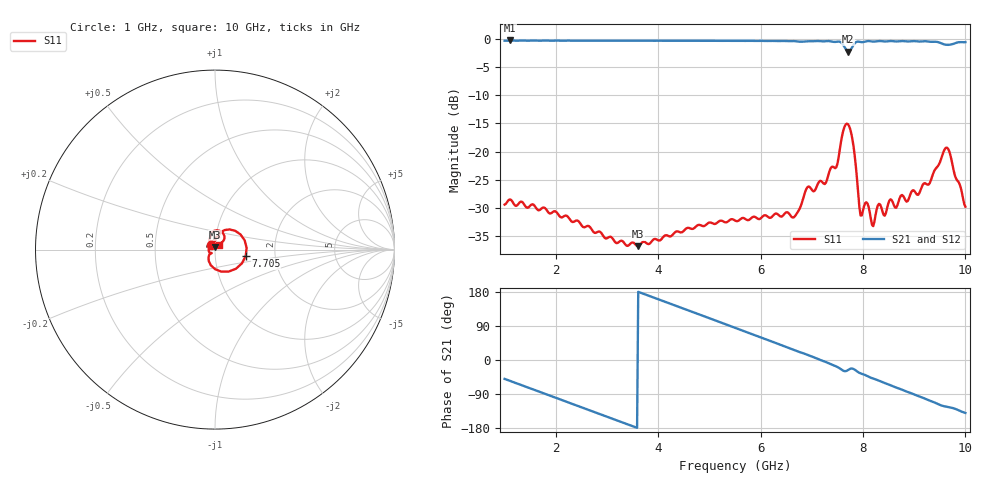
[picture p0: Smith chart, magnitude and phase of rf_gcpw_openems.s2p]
! kicad2ems openEMS FDTD (rf_gcpw); not computed (written as 0): S(P2,P2)
! ports: 1=P1, 2=P2
# Hz S RI R 50
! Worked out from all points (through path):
!   401 points, 1 GHz to 10 GHz, reference 50 ohm
!   highest |S21| = -0.32 dB at 1.113 GHz (marker M1); lowest = -2.3 dB at 7.705 GHz (marker M2)
!   group delay of S21, straight-line fit = 139 ps
!   lowest |S11| = -36.8 dB at 3.61 GHz (marker M3), VSWR 1.03, Z = 49.9 + j1.45 ohm
!   |S11| at or under -10 dB: start of sweep to end of sweep
!   |S22| runs from - to - dB; largest |S21 - S12| = 0
!   S11 on the Smith chart (normalised r, x): 1 GHz: 0.95, +0.05; 7.705 GHz: 1.41, -0.10; 10 GHz: 1.04, +0.05
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1e9  -0.0228 0.0251  0.618 -0.7328  0.618 -0.7328  0 0
1.1125e9  -0.0224 0.0302  0.5459 -0.794  0.5459 -0.794  0 0
1.7875e9  -0.00472 0.0313  0.0139 -0.9618  0.0139 -0.9618  0 0
2.5075e9  0.0043 0.0216  -0.5518 -0.7847  -0.5518 -0.7847  0 0
3.0925e9  0.00346 0.017  -0.8644 -0.4169  -0.8644 -0.4169  0 0
3.61e9  -0.000561 0.0145  -0.9583 0.00289  -0.9583 0.00289  0 0
4.015e9  -0.00267 0.0161  -0.8982 0.3344  -0.8982 0.3344  0 0
4.825e9  -0.00376 0.022  -0.4644 0.8366  -0.4644 0.8366  0 0
5.5e9  -0.00242 0.0244  0.0818 0.9524  0.0818 0.9524  0 0
6.0175e9  -0.00381 0.0257  0.4941 0.8175  0.4941 0.8175  0 0
6.6475e9  -0.00634 0.0253  0.8502 0.4267  0.8502 0.4267  0 0
7.0075e9  -0.00384 0.0453  0.9367 0.1452  0.9367 0.1452  0 0
7.48e9  0.0217 0.0694  0.8965 -0.2748  0.8965 -0.2748  0 0
7.705e9  0.1713 -0.0355  0.6848 -0.3469  0.6848 -0.3469  0 0
7.795e9  0.0347 -0.1225  0.7843 -0.3282  0.7843 -0.3282  0 0
7.975e9  -0.0186 -0.0198  0.7491 -0.5528  0.7491 -0.5528  0 0
8.065e9  -0.0347 -0.00757  0.7146 -0.621  0.7146 -0.621  0 0
8.2e9  -0.0209 0.00645  0.6168 -0.7107  0.6168 -0.7107  0 0
8.515e9  -0.027 0.025  0.3956 -0.8643  0.3956 -0.8643  0 0
9.0775e9  -0.0207 0.0358  -0.0853 -0.94  -0.0853 -0.94  0 0
9.64e9  0.0234 0.1058  -0.4866 -0.7348  -0.4866 -0.7348  0 0
1e10  0.0201 0.0256  -0.7112 -0.6015  -0.7112 -0.6015  0 0
